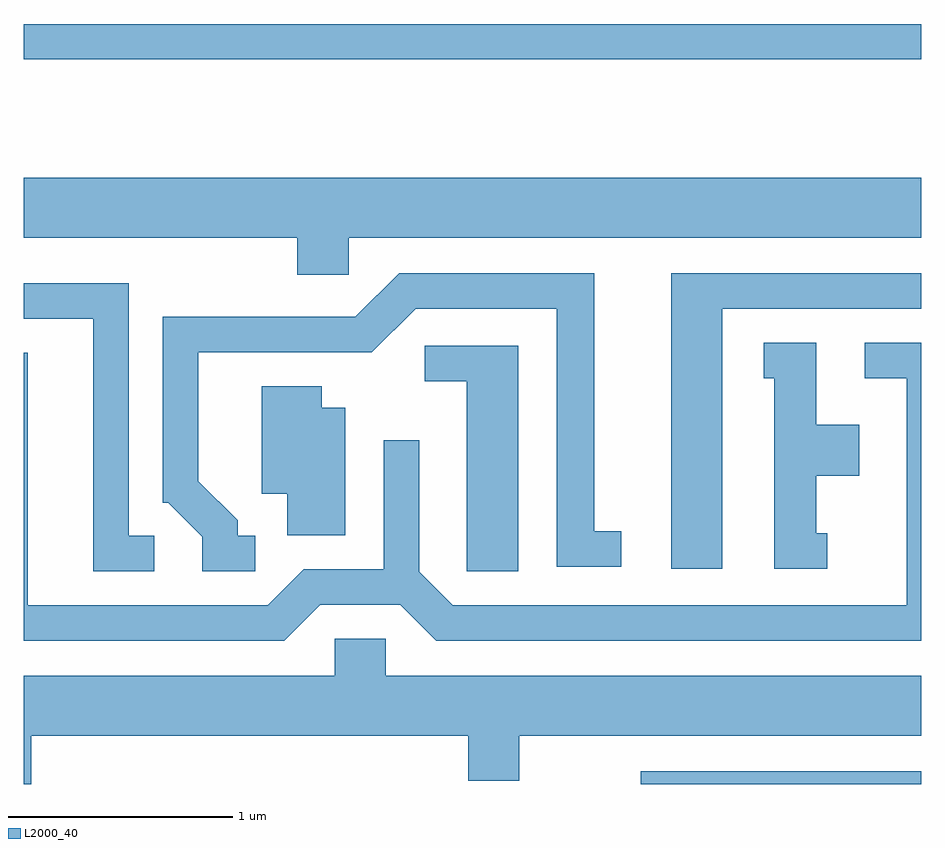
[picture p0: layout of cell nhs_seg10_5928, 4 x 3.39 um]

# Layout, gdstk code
import gdstk
lib = gdstk.Library(unit=1e-6, precision=1e-09)
def R(c, l, rs):  # rectangles x0, y0, x1, y1
    for r in rs: c.add(gdstk.rectangle(r[:2], r[2:], *l))
def P(c, l, *ps):  # polygons
    for p in ps: c.add(gdstk.Polygon(p, *l))
L2000_40 = (2000, 40)

nhs_seg10_5928 = lib.new_cell('nhs_seg10_5928')
R(nhs_seg10_5928, L2000_40, [(362.361,2182.522,363.611,2182.579), (359.611,2185.751,363.611,2185.909)])
P(nhs_seg10_5928, L2000_40, [(361.059,2184.956),(363.611,2184.956),(363.611,2185.224),(359.611,2185.224),(359.611,2184.956),(360.831,2184.956),(360.831,2184.791),(361.059,2184.791)],
  [(360.643,2183.629),(360.564,2183.629),(360.564,2183.697),(360.389,2183.872),(360.389,2184.446),(361.162,2184.446),(361.357,2184.641),(361.986,2184.641),(361.986,2183.491),(362.273,2183.491),(362.273,2183.649),(362.154,2183.649),(362.154,2184.799),(361.284,2184.799),(361.089,2184.604),(360.231,2184.604),(360.231,2183.776),(360.254,2183.776),(360.406,2183.624),(360.406,2183.471),(360.643,2183.471)],
  [(362.724,2184.641),(363.611,2184.641),(363.611,2184.799),(362.496,2184.799),(362.496,2183.481),(362.724,2183.481)],
  [(360.193,2183.629),(360.079,2183.629),(360.079,2184.754),(359.611,2184.754),(359.611,2184.596),(359.921,2184.596),(359.921,2183.471),(360.193,2183.471)],
  [(363.193,2183.639),(363.144,2183.639),(363.144,2183.896),(363.334,2183.896),(363.334,2184.124),(363.144,2184.124),(363.144,2184.489),(362.908,2184.489),(362.908,2184.331),(362.956,2184.331),(362.956,2183.481),(363.193,2183.481)],
  [(360.932,2183.321),(361.289,2183.321),(361.449,2183.161),(363.611,2183.161),(363.611,2184.489),(363.358,2184.489),(363.358,2184.331),(363.546,2184.331),(363.546,2183.319),(361.522,2183.319),(361.374,2183.467),(361.374,2184.053),(361.216,2184.053),(361.216,2183.479),(360.859,2183.479),(360.699,2183.319),(359.629,2183.319),(359.629,2184.444),(359.611,2184.444),(359.611,2183.161),(360.772,2183.161)],
  [(361.814,2184.474),(361.398,2184.474),(361.398,2184.316),(361.586,2184.316),(361.586,2183.471),(361.814,2183.471)],
  [(361.044,2184.199),(360.939,2184.199),(360.939,2184.294),(360.671,2184.294),(360.671,2183.816),(360.786,2183.816),(360.786,2183.631),(361.044,2183.631)],
  [(359.644,2182.736),(361.591,2182.736),(361.591,2182.536),(361.819,2182.536),(361.819,2182.736),(363.611,2182.736),(363.611,2183.004),(361.224,2183.004),(361.224,2183.169),(360.996,2183.169),(360.996,2183.004),(359.611,2183.004),(359.611,2182.522),(359.644,2182.522)])

lib.write_gds('nhs_seg10_5928.gds')
